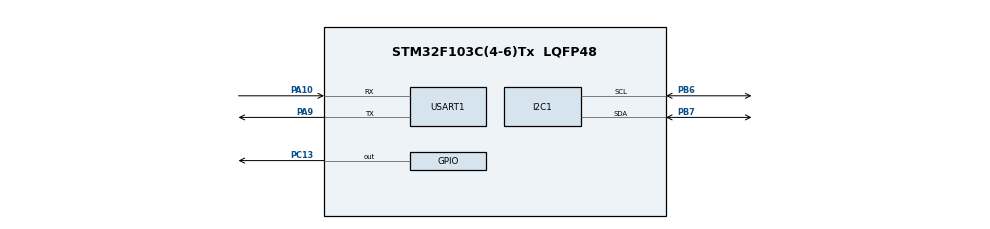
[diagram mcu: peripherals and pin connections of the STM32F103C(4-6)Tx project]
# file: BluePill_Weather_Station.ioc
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Mcu.Family=STM32F1
Mcu.Name=STM32F103C(4-6)Tx
Mcu.Package=LQFP48
NVIC.PriorityGroup=NVIC_PRIORITYGROUP_4
PA10.Mode=Asynchronous
PA10.Signal=USART1_RX
PA13.Mode=Serial_Wire
PA13.Signal=SYS_JTMS-SWDIO
PA14.Mode=Serial_Wire
PA14.Signal=SYS_JTCK-SWCLK
PA9.Mode=Asynchronous
PA9.Signal=USART1_TX
PB6.Mode=I2C
PB6.Signal=I2C1_SCL
PB7.Mode=I2C
PB7.Signal=I2C1_SDA
PC13-TAMPER-RTC.Signal=GPIO_Output
PD0-OSC_IN.Mode=HSE-External-Oscillator
PD0-OSC_IN.Signal=RCC_OSC_IN
PD1-OSC_OUT.Mode=HSE-External-Oscillator
PD1-OSC_OUT.Signal=RCC_OSC_OUT
ProjectManager.HeapSize=0x200
ProjectManager.StackSize=0x400
ProjectManager.TargetToolchain=STM32CubeIDE
RCC.APB1Freq_Value=8000000
RCC.APB2Freq_Value=8000000
USART1.VirtualMode=VM_ASYNC
board=custom

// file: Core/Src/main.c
/* USER CODE BEGIN Header */
/**
  ******************************************************************************
  * @file           : main.c
  * @brief          : Blue Pill + 6-Pin BME280 Mini Weather Station
  *                   Generated via Standalone STM32CubeMX -> STM32CubeIDE 2.x
  ******************************************************************************
  */
/* USER CODE END Header */
#include "main.h"

/* USER CODE BEGIN Includes */
#include <stdio.h>
#include <string.h>
/* USER CODE END Includes */

I2C_HandleTypeDef hi2c1;

UART_HandleTypeDef huart1;

/* USER CODE BEGIN PV */
// --- LIVE WEATHER VARIABLES (Viewable in CubeIDE "Live Expressions") ---
volatile float Temperature_C = 0.0f;
volatile float Humidity_RH   = 0.0f;
volatile float Pressure_hPa  = 0.0f;
volatile uint8_t Sensor_OK   = 0;

// BME280 I2C Address (0x76 when SDO is connected to GND)
uint8_t bme280_addr = (0x76 << 1);

// Factory Calibration Registers inside the BME280
uint16_t dig_T1, dig_P1;
int16_t  dig_T2, dig_T3, dig_P2, dig_P3, dig_P4, dig_P5, dig_P6, dig_P7, dig_P8, dig_P9;
uint8_t  dig_H1, dig_H3;
int16_t  dig_H2, dig_H4, dig_H5;
int8_t   dig_H6;
int32_t  t_fine;

char uart_buf[256];
/* USER CODE END PV */

void SystemClock_Config(void);
static void MX_GPIO_Init(void);
static void MX_I2C1_Init(void);
static void MX_USART1_UART_Init(void);
/* USER CODE BEGIN PFP */
uint8_t BME280_Init(void);
void BME280_Read_Calibration(void);
void BME280_Read_Weather(void);
void UART_Print(char *str);
/* USER CODE END PFP */

/* USER CODE BEGIN 0 */
void UART_Print(char *str) {
    HAL_UART_Transmit(&huart1, (uint8_t *)str, strlen(str), 100);
}

void BME280_Read_Calibration(void) {
    uint8_t calib1[26] = {0};
    uint8_t calib2[7]  = {0};

    // Read factory trimming parameters from BME280 ROM
    HAL_I2C_Mem_Read(&hi2c1, bme280_addr, 0x88, 1, calib1, 26, 1000);
    HAL_I2C_Mem_Read(&hi2c1, bme280_addr, 0xE1, 1, calib2, 7, 1000);

    dig_T1 = (calib1[1] << 8) | calib1[0];
    dig_T2 = (calib1[3] << 8) | calib1[2];
    dig_T3 = (calib1[5] << 8) | calib1[4];

    dig_P1 = (calib1[7] << 8) | calib1[6];
    dig_P2 = (calib1[9] << 8) | calib1[8];
    dig_P3 = (calib1[11] << 8) | calib1[10];
    dig_P4 = (calib1[13] << 8) | calib1[12];
    dig_P5 = (calib1[15] << 8) | calib1[14];
    dig_P6 = (calib1[17] << 8) | calib1[16];
    dig_P7 = (calib1[19] << 8) | calib1[18];
    dig_P8 = (calib1[21] << 8) | calib1[20];
    dig_P9 = (calib1[23] << 8) | calib1[22];

    dig_H1 = calib1[25];
    dig_H2 = (calib2[1] << 8) | calib2[0];
    dig_H3 = calib2[2];
    dig_H4 = (calib2[3] << 4) | (calib2[4] & 0x0F);
    dig_H5 = (calib2[5] << 4) | (calib2[4] >> 4);
    dig_H6 = (int8_t)calib2[6];
}

uint8_t BME280_Init(void) {
    uint8_t chip_id = 0;

    // Auto-check 0x76 (SDO->GND) and 0x77 (SDO->3.3V)
    if (HAL_I2C_IsDeviceReady(&hi2c1, (0x76 << 1), 3, 100) == HAL_OK) {
        bme280_addr = (0x76 << 1);
    } else if (HAL_I2C_IsDeviceReady(&hi2c1, (0x77 << 1), 3, 100) == HAL_OK) {
        bme280_addr = (0x77 << 1);
    } else {
        return 0; // Sensor not responding on B6/B7
    }

    // Verify Chip ID register (0xD0): 0x60 = BME280, 0x58 = BMP280
    HAL_I2C_Mem_Read(&hi2c1, bme280_addr, 0xD0, 1, &chip_id, 1, 1000);
    if (chip_id != 0x60 && chip_id != 0x58) {
        return 0;
    }

    // Soft reset the sensor
    uint8_t reset_cmd = 0xB6;
    HAL_I2C_Mem_Write(&hi2c1, bme280_addr, 0xE0, 1, &reset_cmd, 1, 1000);
    HAL_Delay(100);

    // Load calibration constants
    BME280_Read_Calibration();

    // 1. Humidity oversampling x1 (Register 0xF2)
    uint8_t ctrl_hum = 0x01;
    HAL_I2C_Mem_Write(&hi2c1, bme280_addr, 0xF2, 1, &ctrl_hum, 1, 1000);

    // 2. Standby time 1000ms, filter off (Register 0xF5)
    uint8_t config = (0x05 << 5);
    HAL_I2C_Mem_Write(&hi2c1, bme280_addr, 0xF5, 1, &config, 1, 1000);

    // 3. Temp & Pressure oversampling x1, Normal Mode (Register 0xF4)
    uint8_t ctrl_meas = (0x01 << 5) | (0x01 << 2) | 0x03;
    HAL_I2C_Mem_Write(&hi2c1, bme280_addr, 0xF4, 1, &ctrl_meas, 1, 1000);

    return 1;
}

void BME280_Read_Weather(void) {
    uint8_t raw[8];
    // Burst read 8 bytes starting from register 0xF7
    HAL_I2C_Mem_Read(&hi2c1, bme280_addr, 0xF7, 1, raw, 8, 1000);

    int32_t adc_P = (raw[0] << 12) | (raw[1] << 4) | (raw[2] >> 4);
    int32_t adc_T = (raw[3] << 12) | (raw[4] << 4) | (raw[5] >> 4);
    int32_t adc_H = (raw[6] << 8)  |  raw[7];

    // --- Temperature Compensation ---
    int32_t var1, var2, T;
    var1 = ((((adc_T >> 3) - ((int32_t)dig_T1 << 1))) * ((int32_t)dig_T2)) >> 11;
    var2 = (((((adc_T >> 4) - ((int32_t)dig_T1)) * ((adc_T >> 4) - ((int32_t)dig_T1))) >> 12) * ((int32_t)dig_T3)) >> 14;
    t_fine = var1 + var2;
    T = (t_fine * 5 + 128) >> 8;
    Temperature_C = (float)T / 100.0f;

    // --- Pressure Compensation ---
    int64_t p_var1, p_var2, p;
    p_var1 = ((int64_t)t_fine) - 128000;
    p_var2 = p_var1 * p_var1 * (int64_t)dig_P6;
    p_var2 = p_var2 + ((p_var1 * (int64_t)dig_P5) << 17);
    p_var2 = p_var2 + (((int64_t)dig_P4) << 35);
    p_var1 = ((p_var1 * p_var1 * (int64_t)dig_P3) >> 8) + ((p_var1 * (int64_t)dig_P2) << 12);
    p_var1 = (((((int64_t)1) << 47) + p_var1)) * ((int32_t)dig_P1) >> 33;
    if (p_var1 != 0) {
        p = 1048576 - adc_P;
        p = (((p << 31) - p_var2) * 3125) / p_var1;
        p_var1 = (((int64_t)dig_P9) * (p >> 13) * (p >> 13)) >> 25;
        p_var2 = (((int64_t)dig_P8) * p) >> 19;
        p = ((p + p_var1 + p_var2) >> 8) + (((int64_t)dig_P7) << 4);
        Pressure_hPa = (float)p / 25600.0f;
    }

    // --- Humidity Compensation ---
    int32_t v_x1_u32r;
    v_x1_u32r = (t_fine - ((int32_t)76800));
    v_x1_u32r = (((((adc_H << 14) - (((int32_t)dig_H4) << 20) - (((int32_t)dig_H5) * v_x1_u32r)) + ((int32_t)16384)) >> 15) *
                 (((((((v_x1_u32r * ((int32_t)dig_H6)) >> 10) * (((v_x1_u32r * ((int32_t)dig_H3)) >> 11) + ((int32_t)32768))) >> 10) + ((int32_t)2097152)) * ((int32_t)dig_H2) + 8192) >> 14));
    v_x1_u32r = (v_x1_u32r - (((((v_x1_u32r >> 15) * (v_x1_u32r >> 15)) >> 7) * ((int32_t)dig_H1)) >> 4));
    v_x1_u32r = (v_x1_u32r < 0 ? 0 : v_x1_u32r);
    v_x1_u32r = (v_x1_u32r > 419430400 ? 419430400 : v_x1_u32r);
    Humidity_RH = (float)(v_x1_u32r >> 12) / 1024.0f;
}
/* USER CODE END 0 */

int main(void)
{

  /* MCU Configuration--------------------------------------------------------*/

  /* Reset of all peripherals, Initializes the Flash interface and the Systick. */
  HAL_Init();

  /* Configure the system clock */
  SystemClock_Config();

  /* Initialize all configured peripherals */
  MX_GPIO_Init();
  MX_I2C1_Init();
  MX_USART1_UART_Init();
  /* USER CODE BEGIN 2 */
  HAL_Delay(500);
  UART_Print("\r\n============================================\r\n");
  UART_Print("   BLUE PILL MINI WEATHER STATION (BME280)  \r\n");
  UART_Print("============================================\r\n");

  Sensor_OK = BME280_Init();
  if (Sensor_OK == 0) {
      UART_Print("[ERROR] BME280 not detected! Check B6, B7, CSB & SDO.\r\n");
      while (1) {
          // Rapid blink on PC13 LED indicates wiring error
          HAL_GPIO_TogglePin(GPIOC, GPIO_PIN_13);
          HAL_Delay(150);
      }
  }
  UART_Print("[OK] BME280 Initialized at 0x76!\r\n\r\n");
  /* USER CODE END 2 */

  /* Infinite loop */
  /* USER CODE BEGIN WHILE */
  while (1)
  {
    // Toggle Blue Pill onboard LED (PC13) on each reading
    HAL_GPIO_TogglePin(GPIOC, GPIO_PIN_13);

    // Read and compensate Temperature, Humidity, and Pressure
    BME280_Read_Weather();

    // Format and send over USART1 (PA9/PA10)
    snprintf(uart_buf, sizeof(uart_buf),
             "--------------------------------------------\r\n"
             " Temperature : %.2f C\r\n"
             " Humidity    : %.2f %%RH\r\n"
             " Pressure    : %.2f hPa\r\n"
             "--------------------------------------------\r\n",
             Temperature_C, Humidity_RH, Pressure_hPa);

    UART_Print(uart_buf);

    HAL_Delay(2000);
    /* USER CODE END WHILE */

  }
}

void SystemClock_Config(void)
{
  RCC_OscInitTypeDef RCC_OscInitStruct = {0};
  RCC_ClkInitTypeDef RCC_ClkInitStruct = {0};

  /** Initializes the RCC Oscillators according to the specified parameters
  * in the RCC_OscInitTypeDef structure.
  */
  RCC_OscInitStruct.OscillatorType = RCC_OSCILLATORTYPE_HSI;
  RCC_OscInitStruct.HSIState = RCC_HSI_ON;
  RCC_OscInitStruct.HSICalibrationValue = RCC_HSICALIBRATION_DEFAULT;
  RCC_OscInitStruct.PLL.PLLState = RCC_PLL_NONE;
  if (HAL_RCC_OscConfig(&RCC_OscInitStruct) != HAL_OK)
  {
    Error_Handler();
  }

  /** Initializes the CPU, AHB and APB buses clocks
  */
  RCC_ClkInitStruct.ClockType = RCC_CLOCKTYPE_HCLK|RCC_CLOCKTYPE_SYSCLK
                              |RCC_CLOCKTYPE_PCLK1|RCC_CLOCKTYPE_PCLK2;
  RCC_ClkInitStruct.SYSCLKSource = RCC_SYSCLKSOURCE_HSI;
  RCC_ClkInitStruct.AHBCLKDivider = RCC_SYSCLK_DIV1;
  RCC_ClkInitStruct.APB1CLKDivider = RCC_HCLK_DIV1;
  RCC_ClkInitStruct.APB2CLKDivider = RCC_HCLK_DIV1;

  if (HAL_RCC_ClockConfig(&RCC_ClkInitStruct, FLASH_LATENCY_0) != HAL_OK)
  {
    Error_Handler();
  }
}

static void MX_I2C1_Init(void)
{

  hi2c1.Instance = I2C1;
  hi2c1.Init.ClockSpeed = 100000;
  hi2c1.Init.DutyCycle = I2C_DUTYCYCLE_2;
  hi2c1.Init.OwnAddress1 = 0;
  hi2c1.Init.AddressingMode = I2C_ADDRESSINGMODE_7BIT;
  hi2c1.Init.DualAddressMode = I2C_DUALADDRESS_DISABLE;
  hi2c1.Init.OwnAddress2 = 0;
  hi2c1.Init.GeneralCallMode = I2C_GENERALCALL_DISABLE;
  hi2c1.Init.NoStretchMode = I2C_NOSTRETCH_DISABLE;
  if (HAL_I2C_Init(&hi2c1) != HAL_OK)
  {
    Error_Handler();
  }

}

static void MX_USART1_UART_Init(void)
{

  huart1.Instance = USART1;
  huart1.Init.BaudRate = 115200;
  huart1.Init.WordLength = UART_WORDLENGTH_8B;
  huart1.Init.StopBits = UART_STOPBITS_1;
  huart1.Init.Parity = UART_PARITY_NONE;
  huart1.Init.Mode = UART_MODE_TX_RX;
  huart1.Init.HwFlowCtl = UART_HWCONTROL_NONE;
  huart1.Init.OverSampling = UART_OVERSAMPLING_16;
  if (HAL_UART_Init(&huart1) != HAL_OK)
  {
    Error_Handler();
  }

}

static void MX_GPIO_Init(void)
{
  GPIO_InitTypeDef GPIO_InitStruct = {0};

  /* GPIO Ports Clock Enable */
  __HAL_RCC_GPIOC_CLK_ENABLE();
  __HAL_RCC_GPIOD_CLK_ENABLE();
  __HAL_RCC_GPIOA_CLK_ENABLE();
  __HAL_RCC_GPIOB_CLK_ENABLE();

  /*Configure GPIO pin Output Level */
  HAL_GPIO_WritePin(GPIOC, GPIO_PIN_13, GPIO_PIN_RESET);

  /*Configure GPIO pin : PC13 */
  GPIO_InitStruct.Pin = GPIO_PIN_13;
  GPIO_InitStruct.Mode = GPIO_MODE_OUTPUT_PP;
  GPIO_InitStruct.Pull = GPIO_NOPULL;
  GPIO_InitStruct.Speed = GPIO_SPEED_FREQ_LOW;
  HAL_GPIO_Init(GPIOC, &GPIO_InitStruct);

}

void Error_Handler(void)
{
  __disable_irq();
  while (1)
  {
  }
}
